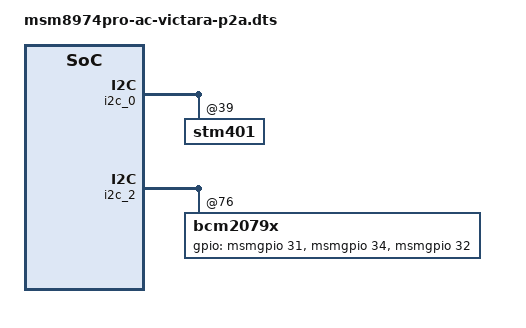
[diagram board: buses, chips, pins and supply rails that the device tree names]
/* Copyright (c) 2013 Motorola Mobility LLC
 *
 * This program is free software; you can redistribute it and/or modify
 * it under the terms of the GNU General Public License version 2 and
 * only version 2 as published by the Free Software Foundation.
 *
 * This program is distributed in the hope that it will be useful,
 * but WITHOUT ANY WARRANTY; without even the implied warranty of
 * MERCHANTABILITY or FITNESS FOR A PARTICULAR PURPOSE.  See the
 * GNU General Public License for more details.
 */

/dts-v1/;
/include/ "msm8974pro-ac-moto-common.dtsi"
/include/ "msm8974pro-victara-common.dtsi"


/ {
	qcom,msm-id = <194 0x4D 0x82A0>;
};

&i2c_0 {
	stm401@39 {
		stm401_fw_version = "_p0";
	};
};

&i2c_2 {
	bcm2079x@76 {
		gpios = <&msmgpio 31 0x0>, /* NFC_WAKE */
			<&msmgpio 34 0x0>, /* NFC_IRQ */
			<&msmgpio 32 0x0>; /* REG_PU */
	};
};
